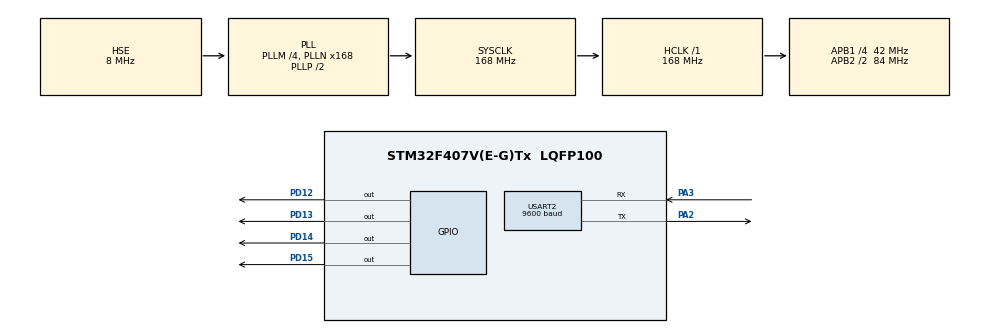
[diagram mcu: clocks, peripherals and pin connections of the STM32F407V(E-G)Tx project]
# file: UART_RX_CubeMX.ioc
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Mcu.Family=STM32F4
Mcu.Name=STM32F407V(E-G)Tx
Mcu.Package=LQFP100
NVIC.PriorityGroup=NVIC_PRIORITYGROUP_4
NVIC.USART2_IRQn=true\:0\:0\:false\:false\:true\:true\:true\:true
PA2.Mode=Asynchronous
PA2.Signal=USART2_TX
PA3.Mode=Asynchronous
PA3.Signal=USART2_RX
PD12.GPIO_Speed=GPIO_SPEED_FREQ_VERY_HIGH
PD12.Signal=GPIO_Output
PD13.GPIO_Speed=GPIO_SPEED_FREQ_VERY_HIGH
PD13.Signal=GPIO_Output
PD14.GPIO_Speed=GPIO_SPEED_FREQ_VERY_HIGH
PD14.Signal=GPIO_Output
PD15.GPIO_Speed=GPIO_SPEED_FREQ_VERY_HIGH
PD15.Signal=GPIO_Output
PH0-OSC_IN.Mode=HSE-External-Oscillator
PH0-OSC_IN.Signal=RCC_OSC_IN
PH1-OSC_OUT.Mode=HSE-External-Oscillator
PH1-OSC_OUT.Signal=RCC_OSC_OUT
ProjectManager.HeapSize=0x200
ProjectManager.StackSize=0x400
ProjectManager.TargetToolchain=STM32CubeIDE
RCC.48MHZClocksFreq_Value=84000000
RCC.AHBFreq_Value=168000000
RCC.APB1CLKDivider=RCC_HCLK_DIV4
RCC.APB1Freq_Value=42000000
RCC.APB1TimFreq_Value=84000000
RCC.APB2CLKDivider=RCC_HCLK_DIV2
RCC.APB2Freq_Value=84000000
RCC.APB2TimFreq_Value=168000000
RCC.CortexFreq_Value=168000000
RCC.HCLKFreq_Value=168000000
RCC.HSE_VALUE=8000000
RCC.HSI_VALUE=16000000
RCC.LSE_VALUE=32768
RCC.PLLM=4
RCC.PLLN=168
RCC.PLLSourceVirtual=RCC_PLLSOURCE_HSE
RCC.SYSCLKFreq_VALUE=168000000
RCC.SYSCLKSource=RCC_SYSCLKSOURCE_PLLCLK
RCC.VCOOutputFreq_Value=336000000
USART2.BaudRate=9600
USART2.VirtualMode=VM_ASYNC
board=custom

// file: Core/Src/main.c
#include <stdint.h>
volatile uint8_t rx_data;
volatile uint8_t blink_sequence_flag = 0;

/* USER CODE BEGIN Header */
/**
  ******************************************************************************
  * @file           : main.c
  * @brief          : Main program body
  ******************************************************************************
  * @attention
  *
  * Copyright (c) 2025 STMicroelectronics.
  * All rights reserved.
  *
  * This software is licensed under terms that can be found in the LICENSE file
  * in the root directory of this software component.
  * If no LICENSE file comes with this software, it is provided AS-IS.
  *
  ******************************************************************************
  */
/* USER CODE END Header */
#include "main.h"

UART_HandleTypeDef huart2;

void SystemClock_Config(void);
static void MX_GPIO_Init(void);
static void MX_USART2_UART_Init(void);

/* USER CODE BEGIN 0 */

void HAL_UART_RxCpltCallback(UART_HandleTypeDef *huart)
{
  if (huart->Instance == USART2)
  {
    HAL_GPIO_WritePin(GPIOD, GPIO_PIN_12 | GPIO_PIN_13 | GPIO_PIN_14 | GPIO_PIN_15, GPIO_PIN_RESET);

    switch (rx_data)
    {
      case '1':
        HAL_GPIO_WritePin(GPIOD, GPIO_PIN_12, GPIO_PIN_SET);
        break;

      case '2':
        HAL_GPIO_WritePin(GPIOD, GPIO_PIN_12 | GPIO_PIN_13, GPIO_PIN_SET);
        break;

      case '3':
        HAL_GPIO_WritePin(GPIOD, GPIO_PIN_12 | GPIO_PIN_13 | GPIO_PIN_14, GPIO_PIN_SET);
        break;

      case '4':
        HAL_GPIO_WritePin(GPIOD, GPIO_PIN_12 | GPIO_PIN_13 | GPIO_PIN_14 | GPIO_PIN_15, GPIO_PIN_SET);
        break;

      case '5':
        blink_sequence_flag = 1;
        break;

      default:
        break;
    }

    HAL_UART_Transmit(&huart2, &rx_data, 1, HAL_MAX_DELAY);
    HAL_UART_Receive_IT(&huart2, &rx_data, 1);
  }
}

/* USER CODE END 0 */

int main(void)
{
  HAL_Init();
  SystemClock_Config();

  MX_GPIO_Init();
  MX_USART2_UART_Init();

  HAL_UART_Receive_IT(&huart2, &rx_data, 1);

  while (1)
  {
    if (blink_sequence_flag)
    {
      for (int pin = 12; pin <= 15; pin++)
      {
        HAL_GPIO_WritePin(GPIOD, (1 << pin), GPIO_PIN_SET);
        HAL_Delay(1000);
        HAL_GPIO_WritePin(GPIOD, (1 << pin), GPIO_PIN_RESET);
      }
      blink_sequence_flag = 0;
    }
  }
}

void SystemClock_Config(void)
{
  RCC_OscInitTypeDef RCC_OscInitStruct = {0};
  RCC_ClkInitTypeDef RCC_ClkInitStruct = {0};

  __HAL_RCC_PWR_CLK_ENABLE();
  __HAL_PWR_VOLTAGESCALING_CONFIG(PWR_REGULATOR_VOLTAGE_SCALE1);

  RCC_OscInitStruct.OscillatorType = RCC_OSCILLATORTYPE_HSE;
  RCC_OscInitStruct.HSEState = RCC_HSE_ON;
  RCC_OscInitStruct.PLL.PLLState = RCC_PLL_ON;
  RCC_OscInitStruct.PLL.PLLSource = RCC_PLLSOURCE_HSE;
  RCC_OscInitStruct.PLL.PLLM = 4;
  RCC_OscInitStruct.PLL.PLLN = 168;
  RCC_OscInitStruct.PLL.PLLP = RCC_PLLP_DIV2;
  RCC_OscInitStruct.PLL.PLLQ = 4;

  if (HAL_RCC_OscConfig(&RCC_OscInitStruct) != HAL_OK)
  {
    Error_Handler();
  }

  RCC_ClkInitStruct.ClockType = RCC_CLOCKTYPE_HCLK|RCC_CLOCKTYPE_SYSCLK
                            |RCC_CLOCKTYPE_PCLK1|RCC_CLOCKTYPE_PCLK2;
  RCC_ClkInitStruct.SYSCLKSource = RCC_SYSCLKSOURCE_PLLCLK;
  RCC_ClkInitStruct.AHBCLKDivider = RCC_SYSCLK_DIV1;
  RCC_ClkInitStruct.APB1CLKDivider = RCC_HCLK_DIV4;
  RCC_ClkInitStruct.APB2CLKDivider = RCC_HCLK_DIV2;

  if (HAL_RCC_ClockConfig(&RCC_ClkInitStruct, FLASH_LATENCY_5) != HAL_OK)
  {
    Error_Handler();
  }
}

static void MX_USART2_UART_Init(void)
{
  huart2.Instance = USART2;
  huart2.Init.BaudRate = 9600;
  huart2.Init.WordLength = UART_WORDLENGTH_8B;
  huart2.Init.StopBits = UART_STOPBITS_1;
  huart2.Init.Parity = UART_PARITY_NONE;
  huart2.Init.Mode = UART_MODE_TX_RX;
  huart2.Init.HwFlowCtl = UART_HWCONTROL_NONE;
  huart2.Init.OverSampling = UART_OVERSAMPLING_16;

  if (HAL_UART_Init(&huart2) != HAL_OK)
  {
    Error_Handler();
  }
}

static void MX_GPIO_Init(void)
{
  GPIO_InitTypeDef GPIO_InitStruct = {0};

  __HAL_RCC_GPIOH_CLK_ENABLE();
  __HAL_RCC_GPIOA_CLK_ENABLE();
  __HAL_RCC_GPIOD_CLK_ENABLE();

  HAL_GPIO_WritePin(GPIOD, GPIO_PIN_12|GPIO_PIN_13|GPIO_PIN_14|GPIO_PIN_15, GPIO_PIN_RESET);

  GPIO_InitStruct.Pin = GPIO_PIN_12|GPIO_PIN_13|GPIO_PIN_14|GPIO_PIN_15;
  GPIO_InitStruct.Mode = GPIO_MODE_OUTPUT_PP;
  GPIO_InitStruct.Pull = GPIO_NOPULL;
  GPIO_InitStruct.Speed = GPIO_SPEED_FREQ_VERY_HIGH;

  HAL_GPIO_Init(GPIOD, &GPIO_InitStruct);
}

void Error_Handler(void)
{
  __disable_irq();
  while (1)
  {
  }
}
